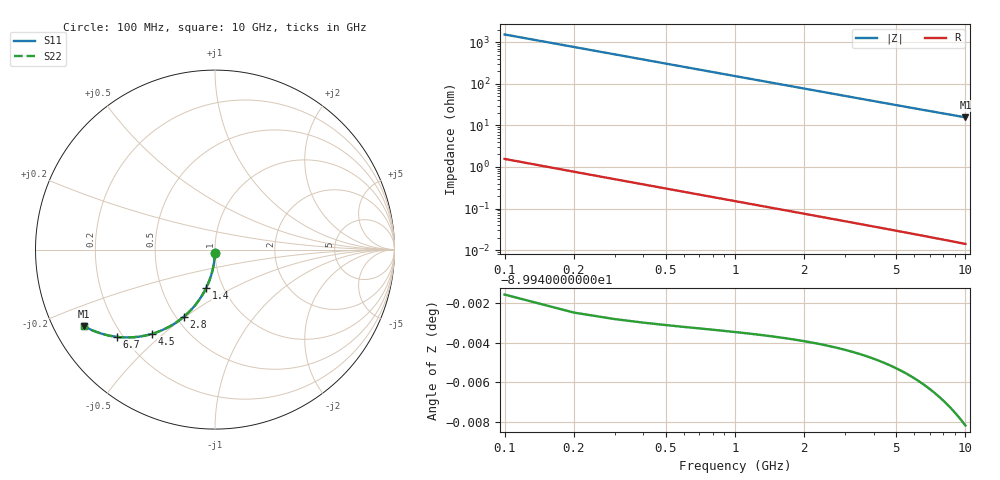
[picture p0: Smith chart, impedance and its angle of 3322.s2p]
# Hz S RI R 50.00
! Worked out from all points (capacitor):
!   100 points, 100 MHz to 10 GHz, reference 50 ohm
!   read as one part in shunt: C = 1.04 pF near 100 MHz
!   lowest |Z| = 15.6 ohm at 10 GHz (marker M1)
!   S11 on the Smith chart (normalised r, x): 100 MHz: 1.00, -0.03; 1.4 GHz: 0.83, -0.37; 2.8 GHz: 0.55, -0.49; 4.5 GHz: 0.32, -0.46; 6.7 GHz: 0.18, -0.37; 10 GHz: 0.09, -0.27
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1e8  -0.000231 -0.0162  0.9997 -0.0165  0.9997 -0.0165  -0.000231 -0.0162
2e8  -0.00105 -0.0323  0.9988 -0.033  0.9988 -0.033  -0.00105 -0.0323
3e8  -0.00239 -0.0484  0.9975 -0.0494  0.9975 -0.0494  -0.00239 -0.0484
4e8  -0.00426 -0.0644  0.9956 -0.0657  0.9956 -0.0657  -0.00426 -0.0644
5e8  -0.00666 -0.0803  0.9932 -0.082  0.9932 -0.082  -0.00666 -0.0803
6e8  -0.00956 -0.0961  0.9903 -0.0981  0.9903 -0.0981  -0.00956 -0.0961
7e8  -0.013 -0.1117  0.9869 -0.114  0.9869 -0.114  -0.013 -0.1117
9e8  -0.0213 -0.1424  0.9786 -0.1454  0.9786 -0.1454  -0.0213 -0.1424
1.1e9  -0.0314 -0.1723  0.9685 -0.1759  0.9685 -0.1759  -0.0314 -0.1723
1.4e9  -0.0499 -0.215  0.95 -0.2196  0.95 -0.2196  -0.0499 -0.215
1.8e9  -0.0798 -0.2677  0.92 -0.2736  0.92 -0.2736  -0.0798 -0.2677
2.3e9  -0.124 -0.3254  0.8758 -0.333  0.8758 -0.333  -0.124 -0.3254
2.8e9  -0.1734 -0.3736  0.8264 -0.3828  0.8264 -0.3828  -0.1734 -0.3736
3.4e9  -0.2363 -0.4187  0.7635 -0.43  0.7635 -0.43  -0.2363 -0.4187
3.9e9  -0.2894 -0.4465  0.7104 -0.4595  0.7104 -0.4595  -0.2894 -0.4465
4.5e9  -0.3516 -0.4695  0.6481 -0.4845  0.6481 -0.4845  -0.3516 -0.4695
5.1e9  -0.4107 -0.483  0.589 -0.5  0.589 -0.5  -0.4107 -0.483
5.9e9  -0.4829 -0.4894  0.5168 -0.5091  0.5168 -0.5091  -0.4829 -0.4894
6.7e9  -0.5466 -0.4861  0.453 -0.5085  0.453 -0.5085  -0.5466 -0.4861
7.5e9  -0.602 -0.4763  0.3975 -0.5015  0.3975 -0.5015  -0.602 -0.4763
8.4e9  -0.6553 -0.4605  0.3442 -0.4889  0.3442 -0.4889  -0.6553 -0.4605
1e10  -0.73 -0.4262  0.2693 -0.4603  0.2693 -0.4603  -0.73 -0.4262
